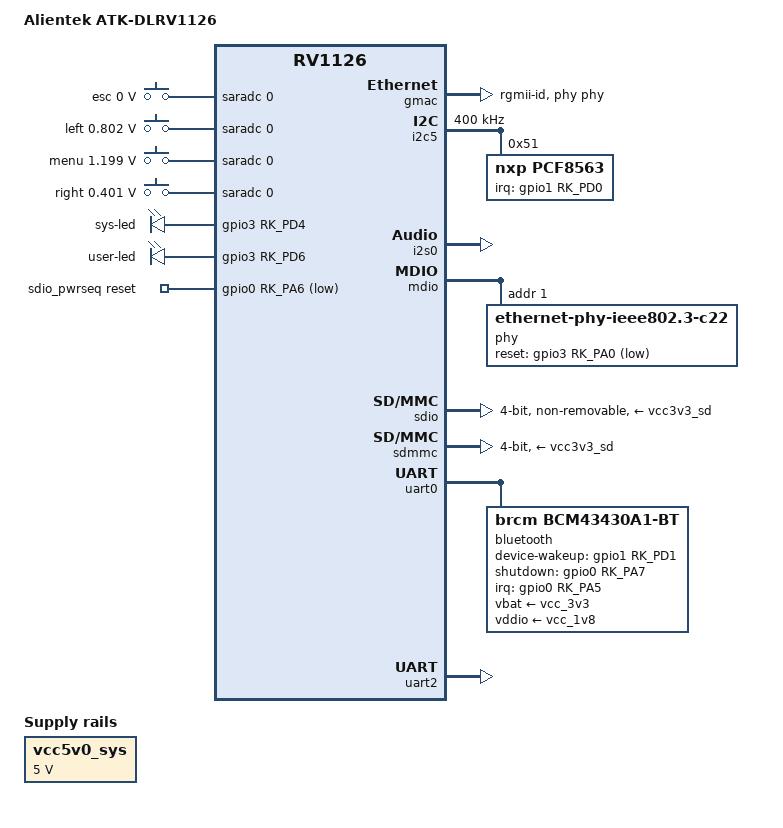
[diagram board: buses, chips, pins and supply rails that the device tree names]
// SPDX-License-Identifier: (GPL-2.0+ OR MIT)
/*
 * Copyright (c) 2026 Yanan He <grumpycat921013@gmail.com>
 */

/dts-v1/;
#include <dt-bindings/input/input.h>
#include "rv1126-alientek-clrv1126f.dtsi"

/ {
	model = "Alientek ATK-DLRV1126";
	compatible = "alientek,dlrv1126", "alientek,clrv1126f", "rockchip,rv1126";

	aliases {
		ethernet0 = &gmac;
		mmc1 = &sdio;
		mmc2 = &sdmmc;
	};

	chosen {
		stdout-path = "serial2:1500000n8";
	};

	adc-keys {
		compatible = "adc-keys";
		io-channels = <&saradc 0>;
		io-channel-names = "buttons";
		keyup-threshold-microvolt = <1800000>;
		poll-interval = <100>;

		button-esc {
			label = "esc";
			linux,code = <KEY_ESC>;
			press-threshold-microvolt = <0>;
		};

		button-left {
			label = "left";
			linux,code = <KEY_LEFT>;
			press-threshold-microvolt = <801562>;
		};

		button-menu {
			label = "menu";
			linux,code = <KEY_MENU>;
			press-threshold-microvolt = <1198828>;
		};

		button-right {
			label = "right";
			linux,code = <KEY_RIGHT>;
			press-threshold-microvolt = <400781>;
		};
	};

	leds {
		compatible = "gpio-leds";

		led-0 {
			label = "sys-led";
			gpios = <&gpio3 RK_PD4 GPIO_ACTIVE_HIGH>;
			linux,default-trigger = "heartbeat";
			default-state = "on";
		};

		led-1 {
			label = "user-led";
			gpios = <&gpio3 RK_PD6 GPIO_ACTIVE_HIGH>;
			linux,default-trigger = "none";
			default-state = "on";
		};
	};

	sound {
		compatible = "simple-audio-card";
		simple-audio-card,format = "i2s";
		simple-audio-card,name = "Analog RK809";
		simple-audio-card,mclk-fs = <256>;
		simple-audio-card,widgets =
			"Speaker", "Speaker",
			"Headphone", "Headphones",
			"Microphone", "Mic Jack";
		simple-audio-card,routing =
			"Speaker", "SPKO",
			"Headphones", "HPOL",
			"Headphones", "HPOR",
			"MICL", "Mic Jack";

		simple-audio-card,cpu {
			sound-dai = <&i2s0>;
		};

		simple-audio-card,codec {
			sound-dai = <&rk809>;
		};
	};

	vcc5v0_sys: regulator-vcc5v0-sys {
		compatible = "regulator-fixed";
		regulator-name = "vcc5v0_sys";
		regulator-always-on;
		regulator-boot-on;
		regulator-min-microvolt = <5000000>;
		regulator-max-microvolt = <5000000>;
	};

	sdio_pwrseq: pwrseq-sdio {
		compatible = "mmc-pwrseq-simple";
		pinctrl-names = "default";
		pinctrl-0 = <&wifi_enable_h>;
		reset-gpios = <&gpio0 RK_PA6 GPIO_ACTIVE_LOW>;
		post-power-on-delay-ms = <200>;
		power-off-delay-us = <20000>;
	};
};

&gmac {
	assigned-clocks = <&cru CLK_GMAC_SRC>, <&cru CLK_GMAC_TX_RX>,
			  <&cru CLK_GMAC_ETHERNET_OUT>;
	assigned-clock-parents = <&cru CLK_GMAC_SRC_M1>,
				 <&cru RGMII_MODE_CLK>;
	assigned-clock-rates = <125000000>, <0>, <25000000>;
	clock_in_out = "input";
	phy-handle = <&phy>;
	phy-mode = "rgmii-id";
	pinctrl-names = "default";
	pinctrl-0 = <&rgmiim1_miim &rgmiim1_bus2 &rgmiim1_bus4
		     &clk_out_ethernetm1_pins>;
	status = "okay";
};

&i2c5 {
	status = "okay";
	clock-frequency = <400000>;

	pcf8563: rtc@51 {
		compatible = "nxp,pcf8563";
		reg = <0x51>;
		#clock-cells = <0>;
		clock-output-names = "xin32k";
		interrupt-parent = <&gpio1>;
		interrupts = <RK_PD0 IRQ_TYPE_LEVEL_LOW>;
	};
};

&i2s0 {
	pinctrl-names = "default";
	pinctrl-0 = <&i2s0m0_sclk_tx>,
		    <&i2s0m0_mclk>,
		    <&i2s0m0_lrck_tx>,
		    <&i2s0m0_sdo0>,
		    <&i2s0m0_sdo1_sdi3>;
	rockchip,trcm-sync-tx-only;
	rockchip,i2s-rx-route = <3 1 2 0>;
	rockchip,i2s-tx-route = <0 1 2 3>;
	status = "okay";
};

&mdio {
	phy: ethernet-phy@1 {
		compatible = "ethernet-phy-ieee802.3-c22";
		reg = <0x1>;
		clocks = <&cru CLK_GMAC_ETHERNET_OUT>;
		pinctrl-names = "default";
		pinctrl-0 = <&eth_phy_rst>;
		reset-gpios = <&gpio3 RK_PA0 GPIO_ACTIVE_LOW>;
		reset-assert-us = <20000>;
		reset-deassert-us = <100000>;
	};
};

&pinctrl {
	bt {
		bt_enable: bt-enable {
			rockchip,pins = <0 RK_PA7 RK_FUNC_GPIO &pcfg_pull_none>;
		};

		bt_wake_dev: bt-wake-dev {
			rockchip,pins = <1 RK_PD1 RK_FUNC_GPIO &pcfg_pull_none>;
		};

		bt_wake_host: bt-wake-host {
			rockchip,pins = <0 RK_PA5 RK_FUNC_GPIO &pcfg_pull_none>;
		};
	};

	ethernet {
		eth_phy_rst: eth-phy-rst {
			rockchip,pins = <3 RK_PA0 RK_FUNC_GPIO &pcfg_pull_down>;
		};
	};

	wifi {
		wifi_enable_h: wifi-enable-h {
			rockchip,pins = <0 RK_PA6 RK_FUNC_GPIO &pcfg_pull_none>;
		};
	};
};

&sdio {
	bus-width = <4>;
	cap-sdio-irq;
	keep-power-in-suspend;
	max-frequency = <25000000>;
	mmc-pwrseq = <&sdio_pwrseq>;
	non-removable;
	pinctrl-names = "default";
	pinctrl-0 = <&sdmmc1_clk &sdmmc1_cmd &sdmmc1_bus4>;
	rockchip,default-sample-phase = <90>;
	vmmc-supply = <&vcc3v3_sd>;
	vqmmc-supply = <&vcc_1v8>;
	status = "okay";
};

&sdmmc {
	bus-width = <4>;
	cap-mmc-highspeed;
	cap-sd-highspeed;
	card-detect-delay = <200>;
	pinctrl-names = "default";
	pinctrl-0 = <&sdmmc0_clk &sdmmc0_cmd &sdmmc0_bus4 &sdmmc0_det>;
	rockchip,default-sample-phase = <90>;
	sd-uhs-sdr12;
	sd-uhs-sdr25;
	sd-uhs-sdr104;
	vmmc-supply = <&vcc3v3_sd>;
	vqmmc-supply = <&vccio_sd>;
	status = "okay";
};

&uart0 {
	pinctrl-names = "default";
	pinctrl-0 = <&uart0_xfer &uart0_ctsn &uart0_rtsn>;
	uart-has-rtscts;
	status = "okay";

	bluetooth {
		compatible = "brcm,bcm43430a1-bt";
		clocks = <&rk809 1>;
		clock-names = "lpo";
		device-wakeup-gpios = <&gpio1 RK_PD1 GPIO_ACTIVE_HIGH>;
		interrupt-parent = <&gpio0>;
		interrupts = <RK_PA5 IRQ_TYPE_EDGE_RISING>;
		interrupt-names = "host-wakeup";
		max-speed = <115200>;
		pinctrl-names = "default";
		pinctrl-0 = <&bt_enable>, <&bt_wake_dev>, <&bt_wake_host>;
		shutdown-gpios = <&gpio0 RK_PA7 GPIO_ACTIVE_HIGH>;
		vbat-supply = <&vcc_3v3>;
		vddio-supply = <&vcc_1v8>;
	};
};

&uart2 {
	status = "okay";
};
